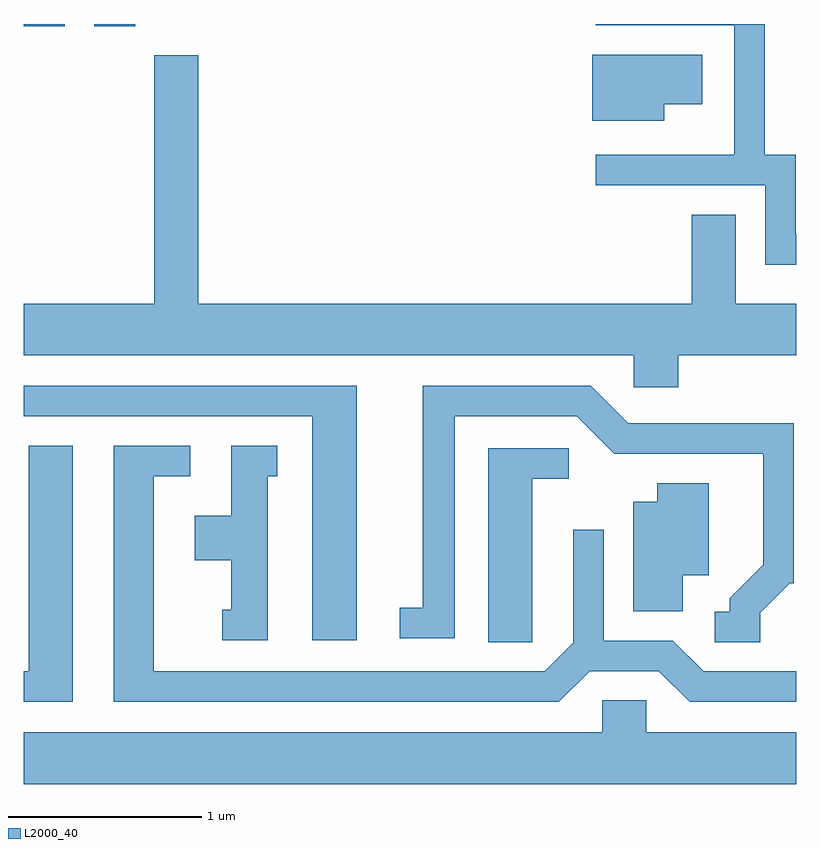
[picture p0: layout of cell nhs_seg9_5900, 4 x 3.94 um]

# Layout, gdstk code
import gdstk
lib = gdstk.Library(unit=1e-6, precision=1e-09)
def R(c, l, rs):  # rectangles x0, y0, x1, y1
    for r in rs: c.add(gdstk.rectangle(r[:2], r[2:], *l))
def P(c, l, *ps):  # polygons
    for p in ps: c.add(gdstk.Polygon(p, *l))
L2000_40 = (2000, 40)

nhs_seg9_5900 = lib.new_cell('nhs_seg9_5900')
R(nhs_seg9_5900, L2000_40, [(359.611,1982.421,359.824,1982.432), (359.976,1982.421,360.189,1982.432)])
P(nhs_seg9_5900, L2000_40, [(363.611,1981.344),(363.609,1981.344),(363.609,1981.754),(363.449,1981.754),(363.449,1982.432),(362.573,1982.432),(362.573,1982.426),(363.291,1982.426),(363.291,1981.754),(362.573,1981.754),(362.573,1981.596),(363.451,1981.596),(363.451,1981.186),(363.611,1981.186)],
  [(362.929,1982.016),(363.124,1982.016),(363.124,1982.274),(362.556,1982.274),(362.556,1981.931),(362.929,1981.931)],
  [(362.999,1980.716),(363.611,1980.716),(363.611,1980.984),(363.299,1980.984),(363.299,1981.444),(363.071,1981.444),(363.071,1980.984),(360.514,1980.984),(360.514,1982.269),(360.286,1982.269),(360.286,1980.984),(359.611,1980.984),(359.611,1980.716),(362.771,1980.716),(362.771,1980.551),(362.999,1980.551)],
  [(363.424,1979.384),(363.577,1979.536),(363.599,1979.536),(363.599,1980.364),(362.742,1980.364),(362.547,1980.559),(361.676,1980.559),(361.676,1979.409),(361.558,1979.409),(361.558,1979.251),(361.844,1979.251),(361.844,1980.401),(362.474,1980.401),(362.669,1980.206),(363.441,1980.206),(363.441,1979.632),(363.266,1979.457),(363.266,1979.389),(363.188,1979.389),(363.188,1979.231),(363.424,1979.231)],
  [(361.334,1980.559),(359.611,1980.559),(359.611,1980.401),(361.106,1980.401),(361.106,1979.241),(361.334,1979.241)],
  [(362.542,1979.081),(362.899,1979.081),(363.059,1978.921),(363.611,1978.921),(363.611,1979.079),(363.132,1979.079),(362.972,1979.239),(362.614,1979.239),(362.614,1979.813),(362.456,1979.813),(362.456,1979.227),(362.309,1979.079),(360.284,1979.079),(360.284,1980.091),(360.473,1980.091),(360.473,1980.249),(360.076,1980.249),(360.076,1978.921),(362.382,1978.921)],
  [(359.864,1980.249),(359.636,1980.249),(359.636,1979.079),(359.611,1979.079),(359.611,1978.921),(359.864,1978.921)],
  [(360.874,1980.091),(360.923,1980.091),(360.923,1980.249),(360.686,1980.249),(360.686,1979.884),(360.496,1979.884),(360.496,1979.656),(360.686,1979.656),(360.686,1979.399),(360.638,1979.399),(360.638,1979.241),(360.874,1979.241)],
  [(362.244,1980.076),(362.433,1980.076),(362.433,1980.234),(362.016,1980.234),(362.016,1979.231),(362.244,1979.231)],
  [(363.024,1979.576),(363.159,1979.576),(363.159,1980.054),(362.891,1980.054),(362.891,1979.959),(362.766,1979.959),(362.766,1979.391),(363.024,1979.391)],
  [(363.611,1978.764),(362.834,1978.764),(362.834,1978.929),(362.606,1978.929),(362.606,1978.764),(359.611,1978.764),(359.611,1978.496),(363.611,1978.496)])

lib.write_gds('nhs_seg9_5900.gds')
